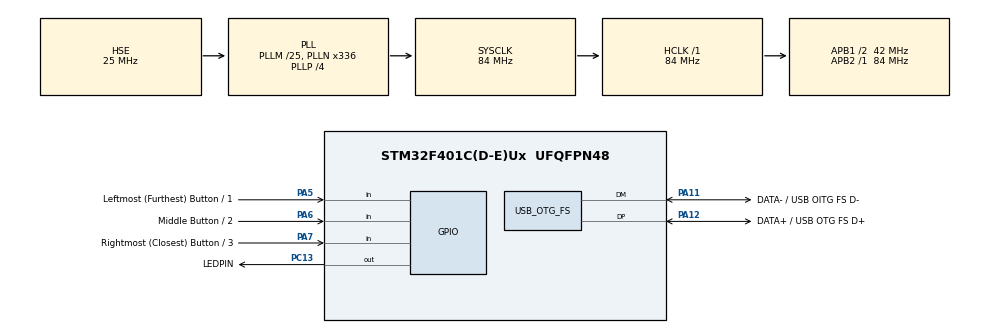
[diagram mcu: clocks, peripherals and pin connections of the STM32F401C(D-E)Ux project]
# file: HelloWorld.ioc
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Mcu.Family=STM32F4
Mcu.Name=STM32F401C(D-E)Ux
Mcu.Package=UFQFPN48
NVIC.OTG_FS_IRQn=true\:0\:0\:false\:false\:true\:false\:true\:true
NVIC.PriorityGroup=NVIC_PRIORITYGROUP_4
PA11.GPIO_Label=DATA- / USB OITG FS D- 
PA11.Mode=Device_Only
PA11.Signal=USB_OTG_FS_DM
PA12.GPIO_Label=DATA+ / USB OTG FS D+ 
PA12.Mode=Device_Only
PA12.Signal=USB_OTG_FS_DP
PA5.GPIO_Label=Leftmost (Furthest) Button / 1
PA5.Signal=GPIO_Input
PA6.GPIO_Label=Middle Button / 2
PA6.Signal=GPIO_Input
PA7.GPIO_Label=Rightmost (Closest) Button / 3
PA7.Signal=GPIO_Input
PC13-ANTI_TAMP.GPIO_Label=LEDPIN
PC13-ANTI_TAMP.Signal=GPIO_Output
PH0\ -\ OSC_IN.GPIO_Label=HSE CLOCK IN / RCC_OSC_IN 
PH0\ -\ OSC_IN.Mode=HSE-External-Oscillator
PH0\ -\ OSC_IN.Signal=RCC_OSC_IN
PH1\ -\ OSC_OUT.GPIO_Label=HSE CLOCK OUT / RCC_OSC_OUT
PH1\ -\ OSC_OUT.Mode=HSE-External-Oscillator
PH1\ -\ OSC_OUT.Signal=RCC_OSC_OUT
ProjectManager.HeapSize=0x200
ProjectManager.StackSize=0x400
ProjectManager.TargetToolchain=STM32CubeIDE
RCC.48MHZClocksFreq_Value=48000000
RCC.AHBFreq_Value=84000000
RCC.APB1CLKDivider=RCC_HCLK_DIV2
RCC.APB1Freq_Value=42000000
RCC.APB1TimFreq_Value=84000000
RCC.APB2Freq_Value=84000000
RCC.APB2TimFreq_Value=84000000
RCC.CortexFreq_Value=84000000
RCC.HCLKFreq_Value=84000000
RCC.HSE_VALUE=25000000
RCC.HSI_VALUE=16000000
RCC.LSE_VALUE=32768
RCC.PLLM=25
RCC.PLLN=336
RCC.PLLP=RCC_PLLP_DIV4
RCC.PLLQ=7
RCC.SYSCLKFreq_VALUE=84000000
RCC.SYSCLKSource=RCC_SYSCLKSOURCE_PLLCLK
RCC.VCOOutputFreq_Value=336000000
USB_DEVICE.CLASS_NAME_FS=CUSTOM_HID
USB_DEVICE.VirtualMode-CUSTOM_HID_FS=CustomHid
USB_DEVICE.VirtualModeFS=Custom_Hid_FS
USB_OTG_FS.VirtualMode=Device_Only
VP_USB_DEVICE_VS_USB_DEVICE_CUSTOM_HID_FS.Mode=CUSTOM_HID_FS
board=custom

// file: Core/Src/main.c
/* USER CODE BEGIN Header */
/**
  ******************************************************************************
  * @file           : main.c
  * @brief          : Main program body
  ******************************************************************************
  * @attention
  *
  * Copyright (c) 2022 STMicroelectronics.
  * All rights reserved.
  *
  * This software is licensed under terms that can be found in the LICENSE file
  * in the root directory of this software component.
  * If no LICENSE file comes with this software, it is provided AS-IS.
  *
  ******************************************************************************
  */
/* USER CODE END Header */
#include "main.h"
#include "usb_device.h"

/* USER CODE BEGIN PTD */
typedef enum {HIGH,LOW} pinState;	//This is an abstraction for GPIO_PIN_[RE]SET
/* USER CODE END PTD */

/* USER CODE BEGIN PD */
pinState pS(GPIO_PinState s){
	if(s==GPIO_PIN_SET){return HIGH;}
	return LOW;
}

void writePin(GPIO_TypeDef * GPIOx, uint16_t GPIO_Pin, pinState state){
	if(state == HIGH){
		HAL_GPIO_WritePin(GPIOx,GPIO_Pin,GPIO_PIN_SET);
		return;
	}
	HAL_GPIO_WritePin(GPIOx,GPIO_Pin,GPIO_PIN_RESET);
}

pinState readPin(GPIO_TypeDef * GPIOx, uint16_t GPIO_Pin){
	return pS(HAL_GPIO_ReadPin(GPIOx,GPIO_Pin));
}
/* USER CODE END PD */

void SystemClock_Config(void);
static void MX_GPIO_Init(void);

/* USER CODE BEGIN 0 */
void flashLed(void){
	writePin(GPIOC,GPIO_PIN_13,LOW);
	HAL_Delay(100);
	writePin(GPIOC,GPIO_PIN_13,HIGH);
	HAL_Delay(100);
	writePin(GPIOC,GPIO_PIN_13,LOW);
	HAL_Delay(100);
	writePin(GPIOC,GPIO_PIN_13,HIGH);
	HAL_Delay(100);
	writePin(GPIOC,GPIO_PIN_13,LOW);
	HAL_Delay(100);
}
/* USER CODE END 0 */

int main(void)
{

  /* MCU Configuration--------------------------------------------------------*/

  /* Reset of all peripherals, Initializes the Flash interface and the Systick. */
  HAL_Init();

  /* USER CODE BEGIN Init */
  //init vars
  //GPIO_PinState inPin;

  /* USER CODE END Init */

  /* Configure the system clock */
  SystemClock_Config();

  /* Initialize all configured peripherals */
  MX_GPIO_Init();
  MX_USB_DEVICE_Init();
  /* USER CODE BEGIN 2 */
  writePin(GPIOC,GPIO_PIN_13,LOW);
  /* USER CODE END 2 */

  /* Infinite loop */
  /* USER CODE BEGIN WHILE */
  while (1)
  {

	  //HAL_Delay(100);

	  if(readPin(GPIOA,GPIO_PIN_7) == HIGH){
		  flashLed();
	  }

    /* USER CODE END WHILE */

  }
}

void SystemClock_Config(void)
{
  RCC_OscInitTypeDef RCC_OscInitStruct = {0};
  RCC_ClkInitTypeDef RCC_ClkInitStruct = {0};

  /** Configure the main internal regulator output voltage
  */
  __HAL_RCC_PWR_CLK_ENABLE();
  __HAL_PWR_VOLTAGESCALING_CONFIG(PWR_REGULATOR_VOLTAGE_SCALE2);

  /** Initializes the RCC Oscillators according to the specified parameters
  * in the RCC_OscInitTypeDef structure.
  */
  RCC_OscInitStruct.OscillatorType = RCC_OSCILLATORTYPE_HSE;
  RCC_OscInitStruct.HSEState = RCC_HSE_ON;
  RCC_OscInitStruct.PLL.PLLState = RCC_PLL_ON;
  RCC_OscInitStruct.PLL.PLLSource = RCC_PLLSOURCE_HSE;
  RCC_OscInitStruct.PLL.PLLM = 25;
  RCC_OscInitStruct.PLL.PLLN = 336;
  RCC_OscInitStruct.PLL.PLLP = RCC_PLLP_DIV4;
  RCC_OscInitStruct.PLL.PLLQ = 7;
  if (HAL_RCC_OscConfig(&RCC_OscInitStruct) != HAL_OK)
  {
    Error_Handler();
  }

  /** Initializes the CPU, AHB and APB buses clocks
  */
  RCC_ClkInitStruct.ClockType = RCC_CLOCKTYPE_HCLK|RCC_CLOCKTYPE_SYSCLK
                              |RCC_CLOCKTYPE_PCLK1|RCC_CLOCKTYPE_PCLK2;
  RCC_ClkInitStruct.SYSCLKSource = RCC_SYSCLKSOURCE_PLLCLK;
  RCC_ClkInitStruct.AHBCLKDivider = RCC_SYSCLK_DIV1;
  RCC_ClkInitStruct.APB1CLKDivider = RCC_HCLK_DIV2;
  RCC_ClkInitStruct.APB2CLKDivider = RCC_HCLK_DIV1;

  if (HAL_RCC_ClockConfig(&RCC_ClkInitStruct, FLASH_LATENCY_2) != HAL_OK)
  {
    Error_Handler();
  }
}

static void MX_GPIO_Init(void)
{
  GPIO_InitTypeDef GPIO_InitStruct = {0};

  /* GPIO Ports Clock Enable */
  __HAL_RCC_GPIOC_CLK_ENABLE();
  __HAL_RCC_GPIOH_CLK_ENABLE();
  __HAL_RCC_GPIOA_CLK_ENABLE();

  /*Configure GPIO pin Output Level */
  HAL_GPIO_WritePin(LEDPIN_GPIO_Port, LEDPIN_Pin, GPIO_PIN_RESET);

  /*Configure GPIO pin : LEDPIN_Pin */
  GPIO_InitStruct.Pin = LEDPIN_Pin;
  GPIO_InitStruct.Mode = GPIO_MODE_OUTPUT_PP;
  GPIO_InitStruct.Pull = GPIO_NOPULL;
  GPIO_InitStruct.Speed = GPIO_SPEED_FREQ_LOW;
  HAL_GPIO_Init(LEDPIN_GPIO_Port, &GPIO_InitStruct);

  /*Configure GPIO pins : Leftmost_Button___1_Pin Middle_Button___2_Pin Rightmost_Button___3_Pin */
  GPIO_InitStruct.Pin = Leftmost_Button___1_Pin|Middle_Button___2_Pin|Rightmost_Button___3_Pin;
  GPIO_InitStruct.Mode = GPIO_MODE_INPUT;
  GPIO_InitStruct.Pull = GPIO_NOPULL;
  HAL_GPIO_Init(GPIOA, &GPIO_InitStruct);

}

void Error_Handler(void)
{
  __disable_irq();
  while (1)
  {
  }
}
